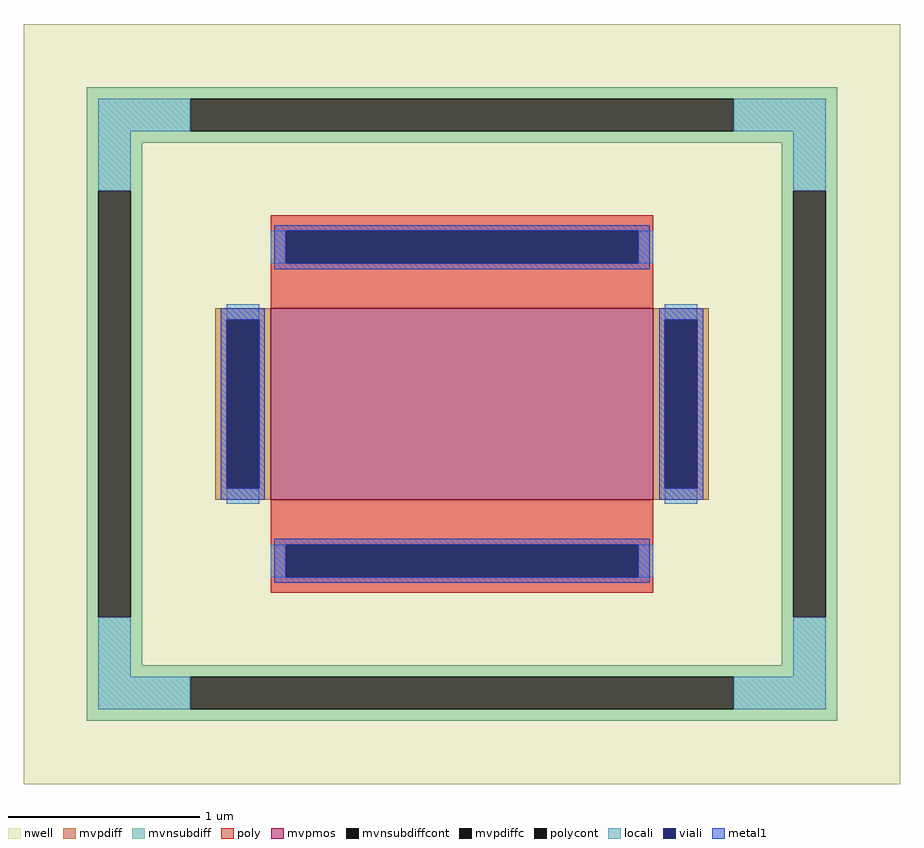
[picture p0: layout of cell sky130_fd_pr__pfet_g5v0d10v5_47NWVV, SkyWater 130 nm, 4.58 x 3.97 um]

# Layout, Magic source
magic
tech sky130A
magscale 1 2
<< nwell >>
rect -458 -397 458 397
<< mvpmos >>
rect -200 -100 200 100
<< mvpdiff >>
rect -258 88 -200 100
rect -258 -88 -246 88
rect -212 -88 -200 88
rect -258 -100 -200 -88
rect 200 88 258 100
rect 200 -88 212 88
rect 246 -88 258 88
rect 200 -100 258 -88
<< mvpdiffc >>
rect -246 -88 -212 88
rect 212 -88 246 88
<< mvnsubdiff >>
rect -392 319 392 331
rect -392 285 -284 319
rect 284 285 392 319
rect -392 273 392 285
rect -392 223 -334 273
rect -392 -223 -380 223
rect -346 -223 -334 223
rect 334 223 392 273
rect -392 -273 -334 -223
rect 334 -223 346 223
rect 380 -223 392 223
rect 334 -273 392 -223
rect -392 -285 392 -273
rect -392 -319 -284 -285
rect 284 -319 392 -285
rect -392 -331 392 -319
<< mvnsubdiffcont >>
rect -284 285 284 319
rect -380 -223 -346 223
rect 346 -223 380 223
rect -284 -319 284 -285
<< poly >>
rect -200 181 200 197
rect -200 147 -184 181
rect 184 147 200 181
rect -200 100 200 147
rect -200 -147 200 -100
rect -200 -181 -184 -147
rect 184 -181 200 -147
rect -200 -197 200 -181
<< polycont >>
rect -184 147 184 181
rect -184 -181 184 -147
<< locali >>
rect -380 285 -284 319
rect 284 285 380 319
rect -380 223 -346 285
rect 346 223 380 285
rect -200 147 -184 181
rect 184 147 200 181
rect -246 88 -212 104
rect -246 -104 -212 -88
rect 212 88 246 104
rect 212 -104 246 -88
rect -200 -181 -184 -147
rect 184 -181 200 -147
rect -380 -285 -346 -223
rect 346 -285 380 -223
rect -380 -319 -284 -285
rect 284 -319 380 -285
<< viali >>
rect -184 147 184 181
rect -246 -88 -212 88
rect 212 -88 246 88
rect -184 -181 184 -147
<< metal1 >>
rect -196 181 196 187
rect -196 147 -184 181
rect 184 147 196 181
rect -196 141 196 147
rect -252 88 -206 100
rect -252 -88 -246 88
rect -212 -88 -206 88
rect -252 -100 -206 -88
rect 206 88 252 100
rect 206 -88 212 88
rect 246 -88 252 88
rect 206 -100 252 -88
rect -196 -147 196 -141
rect -196 -181 -184 -147
rect 184 -181 196 -147
rect -196 -187 196 -181
<< properties >>
string FIXED_BBOX -363 -302 363 302
string gencell sky130_fd_pr__pfet_g5v0d10v5
string library sky130
string parameters w 1.0 l 2.0 m 1 nf 1 diffcov 100 polycov 100 guard 1 glc 1 grc 1 gtc 1 gbc 1 tbcov 100 rlcov 100 topc 1 botc 1 poverlap 0 doverlap 1 lmin 0.50 wmin 0.42 compatible {sky130_fd_pr__pfet_01v8  sky130_fd_pr__pfet_01v8_lvt sky130_fd_pr__pfet_01v8_hvt  sky130_fd_pr__pfet_g5v0d10v5} full_metal 1 viasrc 100 viadrn 100 viagate 100 viagb 0 viagr 0 viagl 0 viagt 0
<< end >>
